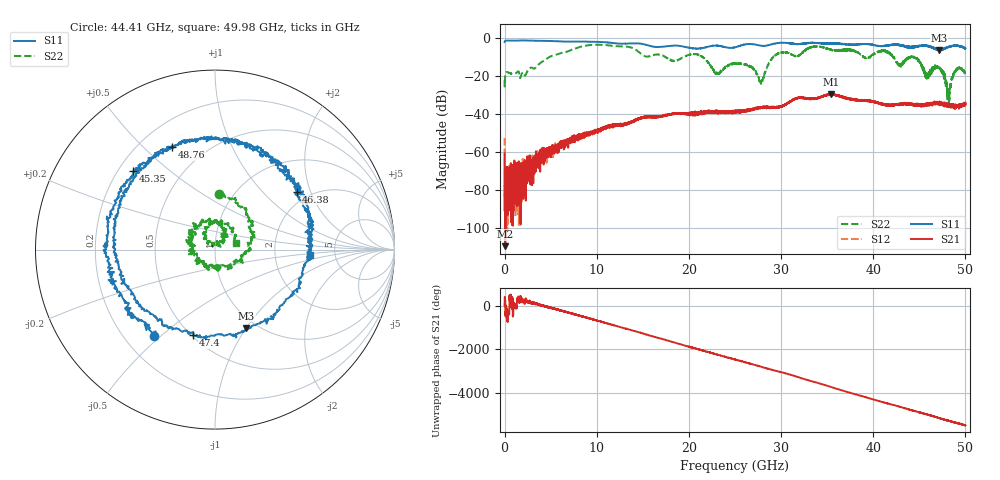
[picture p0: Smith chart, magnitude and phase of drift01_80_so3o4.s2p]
!Created with skrf (http://scikit-rf.org).
# Hz S RI R 50.0
!freq ReS11 ImS11 ReS21 ImS21 ReS12 ImS12 ReS22 ImS22
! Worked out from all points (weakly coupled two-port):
!   10001 points, 300 kHz to 50 GHz, reference 50 ohm
!   highest |S21| = -29.52 dB at 35.43 GHz (marker M1); lowest = -109.5 dB at 75.3 MHz (marker M2)
!   lowest |S11| = -6.5 dB at 47.15 GHz (marker M3), VSWR 2.78, Z = 44.7 - j50.2 ohm
!   |S11| at or under -10 dB: nowhere
!   |S22| runs from -34.7 to -3.6 dB; largest |S21 - S12| = 0.0035
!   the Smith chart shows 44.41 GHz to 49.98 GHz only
!   S11 on the Smith chart (normalised r, x): 44.41 GHz: 0.32, -0.48; 45.35 GHz: 0.26, +0.38; 46.38 GHz: 1.71, +1.61; 47.4 GHz: 0.51, -0.64; 48.76 GHz: 0.33, +0.61; 49.98 GHz: 3.22, -0.29
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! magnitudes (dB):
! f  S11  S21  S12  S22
! 300 kHz  -2.2  -60.8  -52.8  -22.2
! 75.3 MHz  -1.5  -109.5  -83.9  -19.3
! 270.3 MHz  -1.4  -74.4  -78.7  -18.0
! 8.335 GHz  -1.9  -53.0  -51.7  -4.5
! 16.67 GHz  -4.8  -41.5  -41.4  -8.7
! 20.98 GHz  -5.6  -39.5  -39.8  -8.8
! 23.1 GHz  -4.1  -38.5  -38.9  -18.7
! 25 GHz  -5.0  -39.1  -38.6  -13.6
! 27.86 GHz  -4.2  -36.5  -36.7  -23.2
! 29.44 GHz  -2.9  -36.6  -36.6  -8.9
! 33.34 GHz  -2.6  -32.2  -32.0  -4.8
! 35.43 GHz  -3.1  -29.5  -29.7  -6.2
! 41.67 GHz  -3.9  -34.9  -35.5  -8.1
! 44.41 GHz  -4.6  -34.8  -35.5  -10.1
! 45.35 GHz  -4.0  -35.9  -35.2  -15.8
! 46.38 GHz  -5.1  -35.0  -34.5  -16.6
! 47.15 GHz  -6.5  -33.9  -34.3  -16.2
! 47.4 GHz  -6.2  -34.4  -33.9  -16.7
! 48.2 GHz  -4.8  -35.1  -35.5  -32.0
! 48.76 GHz  -4.1  -35.8  -36.0  -19.4
! 49.98 GHz  -5.5  -34.7  -34.3  -18.1
! 50 GHz  -5.6  -34.5  -35.3  -18.3
